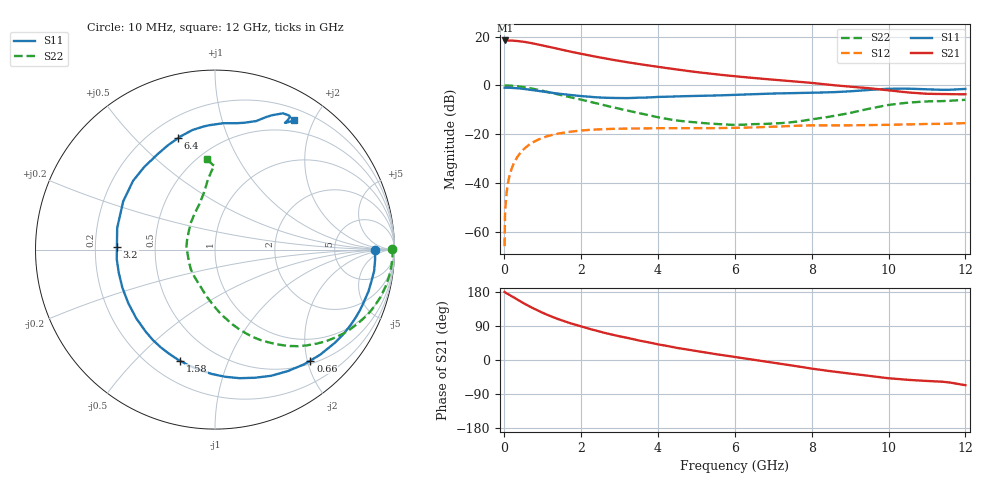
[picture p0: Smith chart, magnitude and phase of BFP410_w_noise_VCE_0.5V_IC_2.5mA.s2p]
! Infineon Technologies  Discrete & RF Semiconductors
! BFP410
! VCE =  0.5 V,  IC =  2.5 mA
! Common Emitter S-Parameters:  Nov 2015
# GHz  S  MA  R  50
!  f  S11  S21  S12  S22
! GHz  MAG  ANG  MAG  ANG  MAG  ANG  MAG  ANG
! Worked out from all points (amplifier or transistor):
!   243 points, 10 MHz to 12 GHz, reference 50 ohm
!   highest |S21| = 18.4 dB at 20 MHz (marker M1)
!   |S21| within 3 dB of that: start of sweep to 1.277 GHz
!   unconditionally stable (mu >= 1): 3.794 GHz to end of sweep
!   at 240 MHz: K = 0.06, MSG = 25.3 dB, |S12| = -32.4 dB
!   at 1.84 GHz: K = 0.46, MSG = 16.1 dB, |S12| = -18.8 dB
!   at 12 GHz: K = 1.11, MAG = 3.9 dB, |S12| = -15.5 dB
!   lowest NFmin = 0.84 dB at 900 MHz
!   S11 on the Smith chart (normalised r, x): 10 MHz: 17, +0; 660 MHz: 0.56, -2.06; 1.58 GHz: 0.32, -0.68; 3.2 GHz: 0.29, +0.01; 6.4 GHz: 0.31, +0.67; 12 GHz: 0.35, +1.73
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0.01  0.8918 0.0  8.201 179.5  0.0005 89.2  0.9887 0.3
0.015  0.8921 -0.8  8.261 179.1  0.0013 91.7  0.9888 -0.3
0.02  0.8926 -1.5  8.322 178.8  0.0021 92.3  0.989 -0.8
0.08  0.8938 -6.1  8.301 175.0  0.0081 85.8  0.9884 -3.7
0.19  0.8866 -14.4  8.277 168.5  0.0191 81.6  0.9801 -9.1
0.4  0.8624 -30.3  8.013 155.8  0.0392 72.6  0.9453 -18.9
0.54  0.8375 -40.6  7.728 147.8  0.0514 66.8  0.9106 -25.0
0.66  0.8153 -49.3  7.454 141.3  0.0611 62.1  0.8771 -30.1
0.9  0.7696 -66.0  6.853 129.2  0.0778 53.5  0.8042 -39.3
1.04  0.7396 -75.2  6.48 122.8  0.0858 48.9  0.7585 -44.1
1.3  0.6932 -91.5  5.836 111.8  0.0981 41.3  0.6798 -52.2
1.58  0.6493 -107.4  5.202 101.6  0.1077 34.5  0.6028 -59.4
2.02  0.5988 -130.0  4.395 87.9  0.1183 25.7  0.5039 -69.1
2.6  0.558 -157.7  3.588 71.9  0.126 16.2  0.3907 -80.9
3.2  0.5467 178.4  2.978 58.5  0.1292 9.0  0.304 -92.6
4.1  0.5793 149.8  2.334 39.6  0.1318 1.0  0.2137 -114.3
5  0.6062 130.6  1.87 23.4  0.1319 -4.6  0.1735 -140.9
6.1  0.641 112.8  1.508 6.5  0.1343 -9.1  0.1547 -173.6
6.4  0.6537 108.5  1.433 1.9  0.1361 -10.2  0.1579 177.1
8.2  0.7095 83.1  1.076 -25.4  0.1507 -21.0  0.2106 127.2
10.2  0.8507 62.3  0.757 -49.8  0.1559 -30.4  0.4133 94.2
12  0.842 58.7  0.654 -66.5  0.1676 -41.0  0.504 94.9
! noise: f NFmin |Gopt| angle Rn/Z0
0.45  0.88  0.45  7  0.25
0.9  0.84  0.43  20  0.24
1.8  1.06  0.33  53  0.2
2.4  1.09  0.33  62  0.18
5.5  2.15  0.34  -141  0.2
10  3.77  0.69  -55  2.12
